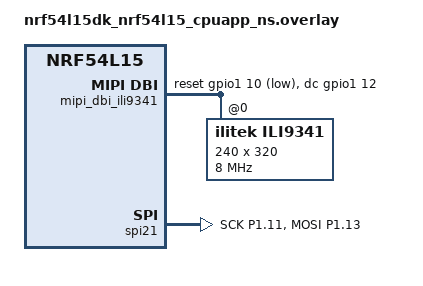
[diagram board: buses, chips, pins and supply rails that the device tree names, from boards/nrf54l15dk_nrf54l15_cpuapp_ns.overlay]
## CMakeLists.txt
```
# Copyright (c) 2023 Fabian Blatz <fabianblatz@gmail.com>
# SPDX-License-Identifier: Apache-2.0

cmake_minimum_required(VERSION 3.20.0)

find_package(Zephyr REQUIRED HINTS $ENV{ZEPHYR_BASE})
project(demos)

set(LVGL_DIR ${ZEPHYR_LVGL_MODULE_DIR})

FILE(GLOB app_sources src/*.c)
target_sources(app PRIVATE
    ${app_sources}
    ${LVGL_DIR}/demos/lv_demos.c
)

target_include_directories(app PRIVATE
    ${LVGL_DIR}/demos/
)

target_sources_ifdef(CONFIG_LV_USE_DEMO_MUSIC app PRIVATE
    ${LVGL_DIR}/demos/music/assets/img_lv_demo_music_btn_corner_large.c
    ${LVGL_DIR}/demos/music/assets/img_lv_demo_music_btn_list_pause.c
    ${LVGL_DIR}/demos/music/assets/img_lv_demo_music_btn_list_pause_large.c
    ${LVGL_DIR}/demos/music/assets/img_lv_demo_music_btn_list_play.c
    ${LVGL_DIR}/demos/music/assets/img_lv_demo_music_btn_list_play_large.c
    ${LVGL_DIR}/demos/music/assets/img_lv_demo_music_btn_loop.c
    ${LVGL_DIR}/demos/music/assets/img_lv_demo_music_btn_loop_large.c
    ${LVGL_DIR}/demos/music/assets/img_lv_demo_music_btn_next.c
    ${LVGL_DIR}/demos/music/assets/img_lv_demo_music_btn_next_large.c
    ${LVGL_DIR}/demos/music/assets/img_lv_demo_music_btn_pause.c
    ${LVGL_DIR}/demos/music/assets/img_lv_demo_music_btn_pause_large.c
    ${LVGL_DIR}/demos/music/assets/img_lv_demo_music_btn_play.c
    ${LVGL_DIR}/demos/music/assets/img_lv_demo_music_btn_play_large.c
    ${LVGL_DIR}/demos/music/assets/img_lv_demo_music_btn_prev.c
    ${LVGL_DIR}/demos/music/assets/img_lv_demo_music_btn_prev_large.c
    ${LVGL_DIR}/demos/music/assets/img_lv_demo_music_btn_rnd.c
    ${LVGL_DIR}/demos/music/assets/img_lv_demo_music_btn_rnd_large.c
    ${LVGL_DIR}/demos/music/assets/img_lv_demo_music_corner_left.c
    ${LVGL_DIR}/demos/music/assets/img_lv_demo_music_corner_left_large.c
    ${LVGL_DIR}/demos/music/assets/img_lv_demo_music_corner_right.c
    ${LVGL_DIR}/demos/music/assets/img_lv_demo_music_corner_right_large.c
    ${LVGL_DIR}/demos/music/assets/img_lv_demo_music_cover_1.c
    ${LVGL_DIR}/demos/music/assets/img_lv_demo_music_cover_1_large.c
    ${LVGL_DIR}/demos/music/assets/img_lv_demo_music_cover_2.c
    ${LVGL_DIR}/demos/music/assets/img_lv_demo_music_cover_2_large.c
    ${LVGL_DIR}/demos/music/assets/img_lv_demo_music_cover_3.c
    ${LVGL_DIR}/demos/music/assets/img_lv_demo_music_cover_3_large.c
    ${LVGL_DIR}/demos/music/assets/img_lv_demo_music_icon_1.c
    ${LVGL_DIR}/demos/music/assets/img_lv_demo_music_icon_1_large.c
    ${LVGL_DIR}/demos/music/assets/img_lv_demo_music_icon_2.c
    ${LVGL_DIR}/demos/music/assets/img_lv_demo_music_icon_2_large.c
    ${LVGL_DIR}/demos/music/assets/img_lv_demo_music_icon_3.c
    ${LVGL_DIR}/demos/music/assets/img_lv_demo_music_icon_3_large.c
    ${LVGL_DIR}/demos/music/assets/img_lv_demo_music_icon_4.c
    ${LVGL_DIR}/demos/music/assets/img_lv_demo_music_icon_4_large.c
    ${LVGL_DIR}/demos/music/assets/img_lv_demo_music_list_border.c
    ${LVGL_DIR}/demos/music/assets/img_lv_demo_music_list_border_large.c
    ${LVGL_DIR}/demos/music/assets/img_lv_demo_music_logo.c
    ${LVGL_DIR}/demos/music/assets/img_lv_demo_music_slider_knob.c
    ${LVGL_DIR}/demos/music/assets/img_lv_demo_music_slider_knob_large.c
    ${LVGL_DIR}/demos/music/assets/img_lv_demo_music_wave_bottom.c
    ${LVGL_DIR}/demos/music/assets/img_lv_demo_music_wave_bottom_large.c
    ${LVGL_DIR}/demos/music/assets/img_lv_demo_music_wave_top.c
    ${LVGL_DIR}/demos/music/assets/img_lv_demo_music_wave_top_large.c
    ${LVGL_DIR}/demos/music/lv_demo_music.c
    ${LVGL_DIR}/demos/music/lv_demo_music_list.c
    ${LVGL_DIR}/demos/music/lv_demo_music_main.c
)

target_sources_ifdef(CONFIG_LV_USE_DEMO_BENCHMARK app PRIVATE
    ${LVGL_DIR}/demos/benchmark/assets/img_benchmark_avatar.c
    ${LVGL_DIR}/demos/benchmark/assets/img_benchmark_lvgl_logo_argb.c
    ${LVGL_DIR}/demos/benchmark/assets/img_benchmark_lvgl_logo_rgb.c
    ${LVGL_DIR}/demos/benchmark/assets/lv_font_benchmark_montserrat_12_aligned.c
    ${LVGL_DIR}/demos/benchmark/assets/lv_font_benchmark_montserrat_14_aligned.c
    ${LVGL_DIR}/demos/benchmark/assets/lv_font_benchmark_montserrat_16_aligned.c
    ${LVGL_DIR}/demos/benchmark/assets/lv_font_benchmark_montserrat_18_aligned.c
    ${LVGL_DIR}/demos/benchmark/assets/lv_font_benchmark_montserrat_20_aligned.c
    ${LVGL_DIR}/demos/benchmark/assets/lv_font_benchmark_montserrat_24_aligned.c
    ${LVGL_DIR}/demos/benchmark/assets/lv_font_benchmark_montserrat_26_aligned.c
    ${LVGL_DIR}/demos/benchmark/lv_demo_benchmark.c
)

target_sources_ifdef(CONFIG_LV_USE_DEMO_STRESS app PRIVATE
    ${LVGL_DIR}/demos/stress/lv_demo_stress.c
)

target_sources_ifdef(CONFIG_LV_USE_DEMO_WIDGETS app PRIVATE
    ${LVGL_DIR}/demos/widgets/assets/img_clothes.c
    ${LVGL_DIR}/demos/widgets/assets/img_demo_widgets_avatar.c
    ${LVGL_DIR}/demos/widgets/assets/img_demo_widgets_needle.c
    ${LVGL_DIR}/demos/widgets/assets/img_lvgl_logo.c
    ${LVGL_DIR}/demos/widgets/lv_demo_widgets.c
    ${LVGL_DIR}/demos/widgets/lv_demo_widgets_analytics.c
    ${LVGL_DIR}/demos/widgets/lv_demo_widgets_components.c
    ${LVGL_DIR}/demos/widgets/lv_demo_widgets_profile.c
    ${LVGL_DIR}/demos/widgets/lv_demo_widgets_shop.c
)

target_sources_ifdef(CONFIG_LV_USE_DEMO_KEYPAD_AND_ENCODER app PRIVATE
    ${LVGL_DIR}/demos/keypad_encoder/lv_demo_keypad_encoder.c
)

target_sources_ifdef(CONFIG_LV_USE_DEMO_RENDER app PRIVATE
    ${LVGL_DIR}/demos/render/lv_demo_render.c
    ${LVGL_DIR}/demos/render/assets/img_render_lvgl_logo_rgb565.c
    ${LVGL_DIR}/demos/render/assets/img_render_lvgl_logo_rgb565a8.c
    ${LVGL_DIR}/demos/render/assets/img_render_lvgl_logo_xrgb8888.c
    ${LVGL_DIR}/demos/render/assets/img_render_lvgl_logo_argb8888_premultiplied.c
    ${LVGL_DIR}/demos/render/assets/img_render_lvgl_logo_argb8888.c
    ${LVGL_DIR}/demos/render/assets/img_render_lvgl_logo_rgb888.c
    ${LVGL_DIR}/demos/render/assets/img_render_arc_bg.c
    ${LVGL_DIR}/demos/render/assets/img_render_lvgl_logo_i1.c
    ${LVGL_DIR}/demos/render/assets/img_render_lvgl_logo_rgb565_swapped.c
    ${LVGL_DIR}/demos/render/assets/img_render_lvgl_logo_l8.c
)
```

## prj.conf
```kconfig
CONFIG_MAIN_STACK_SIZE=6144
CONFIG_LOG=y
CONFIG_SHELL=n

CONFIG_LVGL=y
CONFIG_LV_Z_MEM_POOL_SIZE=58368
CONFIG_LV_Z_SHELL=n
# CONFIG_LV_Z_DEMO_MUSIC=y
CONFIG_LV_Z_DEMO_BENCHMARK=y
CONFIG_LV_USE_MONKEY=n

CONFIG_DISPLAY=y
CONFIG_INPUT=n

CONFIG_LV_FONT_MONTSERRAT_12=y
CONFIG_LV_FONT_MONTSERRAT_14=y
CONFIG_LV_FONT_MONTSERRAT_16=y
CONFIG_LV_FONT_MONTSERRAT_18=y
CONFIG_LV_FONT_MONTSERRAT_24=y

# Benchmark Demo
CONFIG_LV_USE_FONT_COMPRESSED=y

CONFIG_LV_COLOR_16_SWAP=y

CONFIG_SPI=y
CONFIG_DISPLAY=y
CONFIG_MIPI_DBI=y
CONFIG_MIPI_DBI_SPI=y
CONFIG_ILI9341=y
CONFIG_ILI9XXX_READ=n

CONFIG_TFM_SECURE_UART=n
CONFIG_TFM_LOG_LEVEL_SILENCE=y
```

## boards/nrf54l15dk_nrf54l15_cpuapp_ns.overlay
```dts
#include <zephyr/dt-bindings/display/panel.h>
#include <zephyr/dt-bindings/gpio/gpio.h>
#include <zephyr/dt-bindings/pinctrl/nrf-pinctrl.h>

/ {
	chosen {
		zephyr,display = &ili9341;
	};

	mipi_dbi_ili9341 {
		compatible = "zephyr,mipi-dbi-spi";
		spi-dev = <&spi21>;

		dc-gpios = <&gpio1 12 GPIO_ACTIVE_HIGH>;
		reset-gpios = <&gpio1 10 GPIO_ACTIVE_LOW>;

		write-only;
		status = "okay";

		#address-cells = <1>;
		#size-cells = <0>;

		ili9341: ili9341@0 {
			compatible = "ilitek,ili9341";
			reg = <0>;

			mipi-max-frequency = <8000000>;
			mipi-mode = "MIPI_DBI_MODE_SPI_4WIRE";

			pixel-format = <PANEL_PIXEL_FORMAT_RGB_565>;
			width = <240>;
			height = <320>;
			rotation = <90>;

			status = "okay";
		};
	};
};

&spi21 {
	compatible = "nordic,nrf-spim";
	status = "okay";

	pinctrl-0 = <&spi21_ili9341_default>;
	pinctrl-1 = <&spi21_ili9341_sleep>;
	pinctrl-names = "default", "sleep";

	cs-gpios = <&gpio1 8 GPIO_ACTIVE_LOW>;
};

&pinctrl {
	spi21_ili9341_default: spi21_ili9341_default {
		group1 {
			psels = <NRF_PSEL(SPIM_SCK,  1, 11)>,
				<NRF_PSEL(SPIM_MOSI, 1, 13)>;
		};
	};

	spi21_ili9341_sleep: spi21_ili9341_sleep {
		group1 {
			psels = <NRF_PSEL(SPIM_SCK,  1, 11)>,
				<NRF_PSEL(SPIM_MOSI, 1, 13)>;
			low-power-enable;
		};
	};
};

/* Estos GPIO se reutilizan para el display. */
&button0 {
	status = "disabled";
};

&button2 {
	status = "disabled";
};

&button3 {
	status = "disabled";
};

&led1 {
	status = "disabled";
};
```

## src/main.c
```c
/*
 * Copyright (c) 2023 Fabian Blatz <fabianblatz@gmail.com>
 *
 * SPDX-License-Identifier: Apache-2.0
 */

#include <zephyr/kernel.h>
#include <zephyr/drivers/display.h>
#include <lvgl.h>
#include <lvgl_mem.h>
#include <lvgl_zephyr.h>
#include <lv_demos.h>
#include <stdio.h>
#include <zephyr/drivers/mipi_dbi.h>

#define LOG_LEVEL CONFIG_LOG_DEFAULT_LEVEL
#include <zephyr/logging/log.h>
LOG_MODULE_REGISTER(app);

void patch_display_mirroring(void)
{
    const struct device *display_dev = DEVICE_DT_GET(DT_CHOSEN(zephyr_display));
    
    if (!device_is_ready(display_dev)) {
        return;
    }

    const struct device *dbi_dev = DEVICE_DT_GET(DT_PARENT(DT_NODELABEL(ili9341)));

    if (device_is_ready(dbi_dev)) {
        /* 
         * MADCTL (0x36) Bit definitions:
         * MY(0x80) MX(0x40) MV(0x20) ML(0x10) BGR(0x08) MH(0x04)
         * Read your driver's default byte or try forcing the flip:
         * For 90 deg + X-flip, you typically want to toggle the 0x40 or 0x80 bit 
         * depending on your display's orientation.
         */
        uint8_t madctl_val = 0xE0;
        
        struct mipi_dbi_config dbi_config =
            MIPI_DBI_CONFIG_DT(DT_NODELABEL(ili9341),
                               SPI_OP_MODE_MASTER | SPI_WORD_SET(8), 0);

        // Write directly to MADCTL (0x36) to change hardware X/Y scanning rules
        mipi_dbi_command_write(dbi_dev, &dbi_config, 0x36, &madctl_val, 1);
    }
}

int main(void)
{
	const struct device *display_dev;
#ifdef CONFIG_LV_Z_DEMO_RENDER_SCENE_DYNAMIC
	k_timepoint_t next_scene_switch;
	lv_demo_render_scene_t cur_scene = LV_DEMO_RENDER_SCENE_FILL;
#endif /* CONFIG_LV_Z_DEMO_RENDER_SCENE_DYNAMIC */
	int ret;

	display_dev = DEVICE_DT_GET(DT_CHOSEN(zephyr_display));
	if (!device_is_ready(display_dev)) {
		LOG_ERR("Device not ready, aborting test");
		return 0;
	}

	patch_display_mirroring();

	lvgl_lock();

#if defined(CONFIG_LV_Z_DEMO_MUSIC)
	lv_demo_music();
#elif defined(CONFIG_LV_Z_DEMO_BENCHMARK)
	lv_demo_benchmark();
#elif defined(CONFIG_LV_Z_DEMO_STRESS)
	lv_demo_stress();
#elif defined(CONFIG_LV_Z_DEMO_WIDGETS)
	lv_demo_widgets();
#elif defined(CONFIG_LV_Z_DEMO_KEYPAD_AND_ENCODER)
	lv_demo_keypad_encoder();
#elif defined(CONFIG_LV_Z_DEMO_RENDER)

#ifdef CONFIG_LV_Z_DEMO_RENDER_SCENE_DYNAMIC
	lv_demo_render(cur_scene, 255);
	next_scene_switch =
		sys_timepoint_calc(K_SECONDS(CONFIG_LV_Z_DEMO_RENDER_DYNAMIC_SCENE_TIMEOUT));
#else
	lv_demo_render(CONFIG_LV_Z_DEMO_RENDER_SCENE_INDEX, 255);
#endif /* CONFIG_LV_Z_DEMO_RENDER_SCENE_DYNAMIC */

#else
#error Enable one of the demos CONFIG_LV_Z_DEMO_*
#endif

#ifndef CONFIG_LV_Z_RUN_LVGL_ON_WORKQUEUE
	lv_timer_handler();
#endif
	lvgl_unlock();

	ret = display_blanking_off(display_dev);
	if (ret < 0 && ret != -ENOSYS) {
		LOG_ERR("Failed to turn blanking off (error %d)", ret);
		return 0;
	}

#ifdef CONFIG_LV_Z_MEM_POOL_SYS_HEAP
	lvgl_print_heap_info(false);
#else
	printf("lvgl in malloc mode\n");
#endif
	while (1) {
#ifndef CONFIG_LV_Z_RUN_LVGL_ON_WORKQUEUE
		uint32_t sleep_ms;

		lvgl_lock();
		sleep_ms = lv_timer_handler();
		lvgl_unlock();

		k_msleep(MIN(sleep_ms, INT32_MAX));
#else
		/* LVGL managed by dedicated workqueue, just put an application side delay */
		k_msleep(10);
#endif
#ifdef CONFIG_LV_Z_DEMO_RENDER_SCENE_DYNAMIC
		if (sys_timepoint_expired(next_scene_switch)) {
			cur_scene = (cur_scene + 1) % LV_DEMO_RENDER_SCENE_NUM;
			lvgl_lock();
			lv_demo_render(cur_scene, 255);
			lvgl_unlock();
			next_scene_switch = sys_timepoint_calc(
				K_SECONDS(CONFIG_LV_Z_DEMO_RENDER_DYNAMIC_SCENE_TIMEOUT));
		}
#endif /* CONFIG_LV_Z_DEMO_RENDER_SCENE_DYNAMIC */
	}

	return 0;
}
```
